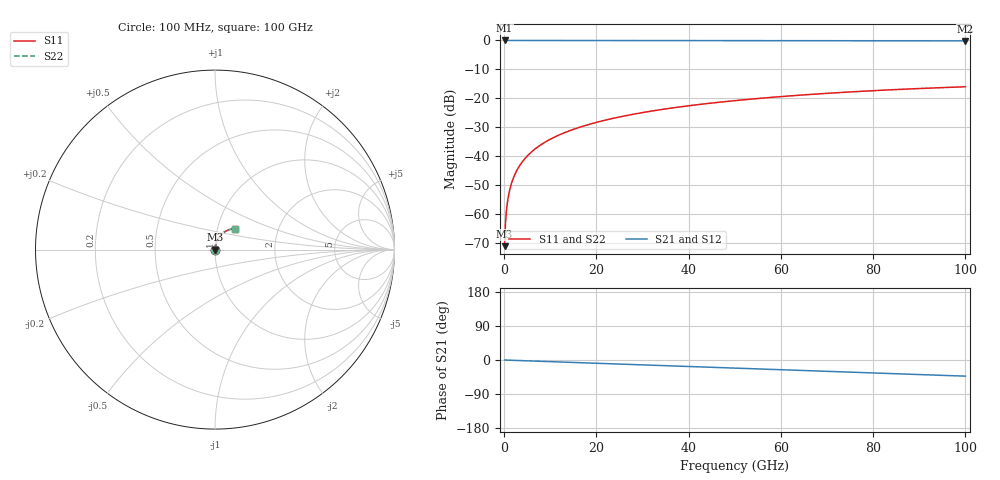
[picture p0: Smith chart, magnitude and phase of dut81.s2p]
! Touchstone file exported from HFSS 2026.1.0
!  File:  C:/ffzhzh/LocalFiles/Ansys_Project_Files/temp_train_TSV_81_1783505446_31944.aedt
!  Generated:  06:12:02 PM Jul  8, 2026
!  Design:  TSV
!  Project:  temp_train_TSV_81_1783505446_31944
! Variables:
!  h_bsmrdl = 2um
!  h_ox = 20um
!  h_rdl = 5um
!  h_sub = 81.18um
!  h_tmrdl = 5um
!  h_tsv = 81.18um
!  h_via = 3um
!  l_bsmrdl = 300um
!  l_sub = 418.16um
!  l_tmrdl = 200um
!  m_sub = 200um
!  pitch = 50.48um
!  r_tsv = 9.08um
!  s_tmrdl = 10um
!  w_bsmrdl = 18um
!  w_sub = 500um
!  w_tmrdl = 12um
!  x_tsv_center1 = 206um
!  x_tsv_center2 = 524um
!  x_tsv_center3 = 736um
!  x_tsv_center4 = 1054um
!  x_tsv_center5 = 1266um
!  x_tsv_center6 = 1584um
# GHz S MA R 50.000000
! Terminal data exported
! Port[1] = TSV1_1_T1
! Port[2] = TSV1_1_T2
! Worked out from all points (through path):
!   1000 points, 100 MHz to 100 GHz, reference 50 ohm
!   highest |S21| = 0.00 dB at 100 MHz (marker M1); lowest = -0.1 dB at 100 GHz (marker M2)
!   group delay of S21, straight-line fit = 1.18 ps
!   lowest |S11| = -71.2 dB at 100 MHz (marker M3), VSWR 1.00, Z = 50 + j0.0234 ohm
!   |S11| at or under -10 dB: start of sweep to end of sweep
!   |S22| runs from -71.2 to -16.0 dB; largest |S21 - S12| = 7e-15
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0.1  0.0002762 57.9  0.9999 -0.0  0.9999 -0.0  0.0002762 57.9
! Gamma 0 0 0 0
! Port Impedance 50 0 50 0
0.3  0.0007122 75.6  0.9998 -0.1  0.9998 -0.1  0.0007122 75.6
0.7  0.001563 80.3  0.9997 -0.3  0.9997 -0.3  0.001563 80.3
0.8  0.001768 80.8  0.9997 -0.4  0.9997 -0.4  0.001768 80.8
1  0.002174 81.6  0.9997 -0.4  0.9997 -0.4  0.002174 81.6
1.3  0.002778 82.4  0.9997 -0.6  0.9997 -0.6  0.002778 82.4
1.7  0.003576 83.0  0.9996 -0.8  0.9996 -0.8  0.003576 83.0
2.3  0.004763 83.5  0.9995 -1.0  0.9995 -1.0  0.004763 83.5
3  0.006132 83.8  0.9995 -1.3  0.9995 -1.3  0.006132 83.8
3.8  0.007684 83.9  0.9994 -1.7  0.9994 -1.7  0.007684 83.9
4.8  0.009612 84.0  0.9993 -2.1  0.9993 -2.1  0.009612 84.0
6  0.01192 83.8  0.9992 -2.6  0.9992 -2.6  0.01192 83.8
8.8  0.01726 83.2  0.999 -3.8  0.999 -3.8  0.01726 83.2
12.4  0.02408 82.1  0.9986 -5.4  0.9986 -5.4  0.02407 82.1
16.8  0.03232 80.5  0.9982 -7.3  0.9982 -7.3  0.03232 80.5
24.2  0.04599 77.7  0.9974 -10.4  0.9974 -10.4  0.04599 77.7
33.4  0.06259 74.0  0.9963 -14.4  0.9963 -14.4  0.06259 74.0
41.2  0.0762 70.9  0.9951 -17.7  0.9951 -17.7  0.0762 70.9
50.1  0.09113 67.2  0.9937 -21.5  0.9937 -21.5  0.09113 67.2
66.7  0.1169 60.3  0.9907 -28.6  0.9907 -28.6  0.1169 60.3
83.4  0.1395 53.4  0.9875 -35.6  0.9875 -35.6  0.1395 53.4
100  0.158 46.5  0.9843 -42.6  0.9843 -42.6  0.158 46.5
